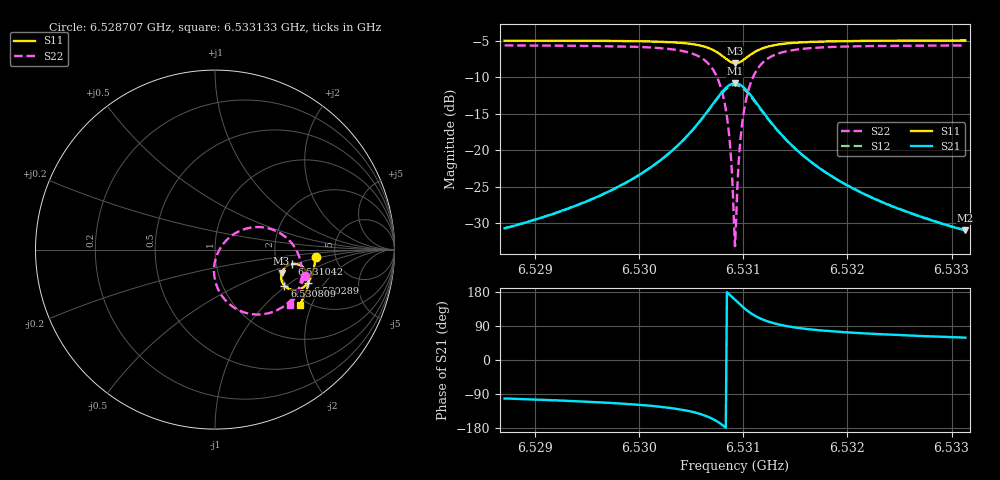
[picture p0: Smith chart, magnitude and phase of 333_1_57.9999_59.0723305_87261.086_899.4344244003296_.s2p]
#  HZ  S  RI  R  50.00
! Rohde & Schwarz Vector Network Analyzer
! Rohde-Schwarz,ZNB20-2Port,1311601062101988,3.16
! Created: UTC 3/21/2024, 1:05:11 AM
! freq[Hz]  re:S11  im:S11  re:S21  im:S21  re:S12  im:S12  re:S22  im:S22
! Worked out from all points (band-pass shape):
!   401 points, 6.528707 GHz to 6.533133 GHz, reference 50 ohm
!   highest |S21| = -10.84 dB at 6.53092 GHz (marker M1); lowest = -31.0 dB at 6.533133 GHz (marker M2)
!   |S21| within 3 dB of the highest: 6.530699 GHz to 6.531142 GHz (443.2 kHz wide, 0.00679 % of centre)
!   lowest |S11| = -8.1 dB at 6.53092 GHz (marker M3), VSWR 2.30, Z = 102 - j31.9 ohm
!   |S11| at or under -10 dB: nowhere
!   |S22| runs from -33.1 to -5.7 dB; largest |S21 - S12| = 0.011
!   S11 on the Smith chart (normalised r, x): 6.528707 GHz: 3.50, -0.43; 6.530289 GHz: 2.61, -1.38; 6.530809 GHz: 1.95, -0.97; 6.531042 GHz: 2.43, -0.48; 6.533133 GHz: 1.83, -1.65
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6.5287069e9  0.5599 -0.0417  -0.00598 -0.0286  -0.00635 -0.0285  0.5003 -0.146
6.5294483e9  0.5513 -0.1024  -0.0145 -0.0409  -0.0154 -0.0406  0.4719 -0.2134
6.5301897e9  0.5246 -0.1739  -0.0457 -0.0703  -0.0476 -0.0691  0.3958 -0.3062
6.5302893e9  0.5168 -0.1855  -0.0566 -0.0773  -0.0587 -0.0757  0.3727 -0.3228
6.5306434e9  0.4543 -0.2251  -0.1524 -0.0954  -0.1545 -0.0894  0.1904 -0.357
6.530743e9  0.4156 -0.2208  -0.2123 -0.0721  -0.2121 -0.0634  0.0876 -0.3095
6.5308094e9  0.3869 -0.2011  -0.2551 -0.028  -0.2513 -0.0187  0.0209 -0.2285
6.5308426e9  0.3753 -0.184  -0.271 0.00578  -0.2645 0.0143  3.2e-05 -0.1695
6.5308647e9  0.3703 -0.1702  -0.2768 0.0319  -0.269 0.0396  -0.00562 -0.125
6.5308979e9  0.3682 -0.1471  -0.2757 0.0743  -0.2666 0.0799  0.00267 -0.055
6.530909e9  0.3692 -0.1394  -0.2727 0.0889  -0.2632 0.0934  0.0101 -0.0321
6.53092e9  0.3709 -0.1316  -0.2682 0.1027  -0.2585 0.1064  0.0198 -0.00984
6.5309311e9  0.3736 -0.1242  -0.2623 0.1162  -0.2527 0.1189  0.0316 0.0114
6.5309422e9  0.3771 -0.117  -0.2552 0.1289  -0.2455 0.1309  0.0452 0.0312
6.5309643e9  0.386 -0.1042  -0.2376 0.1516  -0.2283 0.152  0.0778 0.0657
6.5309864e9  0.397 -0.0939  -0.2167 0.1699  -0.2085 0.1689  0.115 0.0924
6.5310417e9  0.4283 -0.0804  -0.1598 0.1948  -0.1542 0.1923  0.2131 0.1244
6.5311192e9  0.4665 -0.0838  -0.0925 0.193  -0.0895 0.1904  0.3267 0.109
6.5312299e9  0.499 -0.1064  -0.0355 0.1634  -0.0342 0.162  0.4192 0.0452
6.5316614e9  0.5204 -0.182  0.0138 0.0809  0.0148 0.0806  0.4833 -0.1305
6.5324028e9  0.5001 -0.2547  0.0164 0.0389  0.0171 0.0385  0.4555 -0.2458
6.5331332e9  0.472 -0.3081  0.0146 0.0243  0.015 0.0241  0.4203 -0.3081
